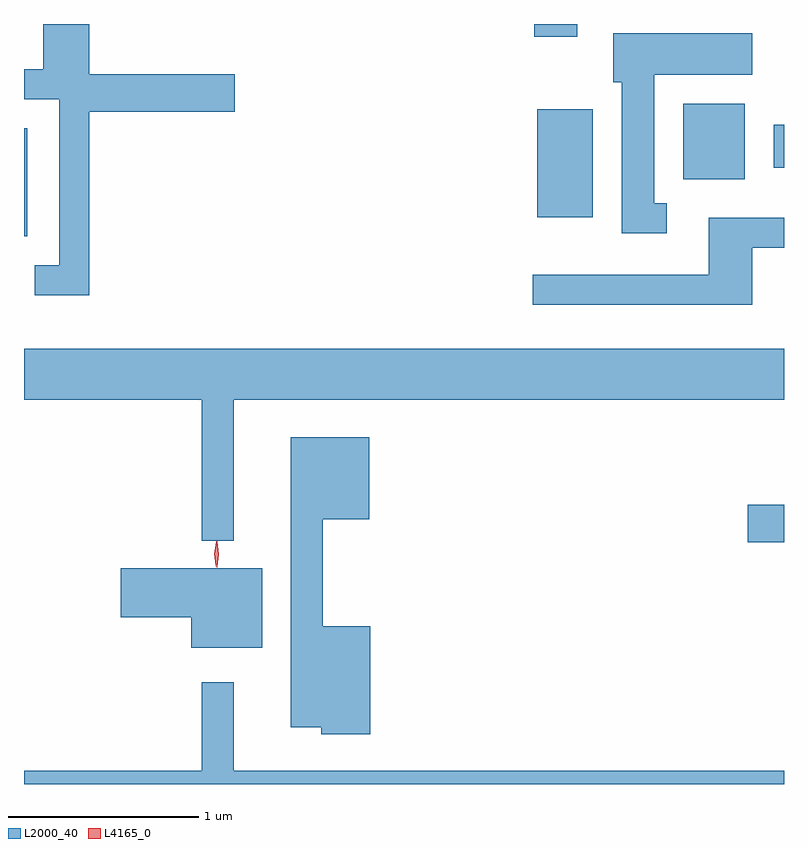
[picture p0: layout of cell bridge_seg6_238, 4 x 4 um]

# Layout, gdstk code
import gdstk
lib = gdstk.Library(unit=1e-6, precision=1e-09)
def R(c, l, rs):  # rectangles x0, y0, x1, y1
    for r in rs: c.add(gdstk.rectangle(r[:2], r[2:], *l))
def P(c, l, *ps):  # polygons
    for p in ps: c.add(gdstk.Polygon(p, *l))
L2000_40 = (2000, 40)
L4165_0 = (4165, 0)

bridge_seg6_238 = lib.new_cell('bridge_seg6_238')
R(bridge_seg6_238, L2000_40, [(1130.276,1558.166,1130.466,1558.364), (1126.466,1559.776,1126.484,1560.344), (1129.166,1559.876,1129.459,1560.444), (1129.936,1560.076,1130.259,1560.474), (1130.411,1560.136,1130.466,1560.364), (1129.151,1560.826,1129.379,1560.893)])
P(bridge_seg6_238, L2000_40, [(1126.809,1560.431),(1127.574,1560.431),(1127.574,1560.629),(1126.809,1560.629),(1126.809,1560.893),(1126.566,1560.893),(1126.566,1560.654),(1126.466,1560.654),(1126.466,1560.496),(1126.651,1560.496),(1126.651,1559.624),(1126.523,1559.624),(1126.523,1559.466),(1126.809,1559.466)],
  [(1129.848,1559.949),(1129.784,1559.949),(1129.784,1560.626),(1130.299,1560.626),(1130.299,1560.844),(1129.566,1560.844),(1129.566,1560.586),(1129.611,1560.586),(1129.611,1559.791),(1129.848,1559.791)],
  [(1130.299,1559.716),(1130.466,1559.716),(1130.466,1559.874),(1130.071,1559.874),(1130.071,1559.574),(1129.143,1559.574),(1129.143,1559.416),(1130.299,1559.416)],
  [(1127.569,1558.916),(1130.466,1558.916),(1130.466,1559.184),(1126.466,1559.184),(1126.466,1558.916),(1127.401,1558.916),(1127.401,1558.173),(1127.569,1558.173)],
  [(1128.289,1557.724),(1128.039,1557.724),(1128.039,1558.286),(1128.284,1558.286),(1128.284,1558.719),(1127.871,1558.719),(1127.871,1557.191),(1128.031,1557.191),(1128.031,1557.156),(1128.289,1557.156)],
  [(1127.719,1558.029),(1126.976,1558.029),(1126.976,1557.771),(1127.346,1557.771),(1127.346,1557.611),(1127.719,1557.611)],
  [(1130.466,1556.964),(1127.569,1556.964),(1127.569,1557.428),(1127.401,1557.428),(1127.401,1556.964),(1126.466,1556.964),(1126.466,1556.893),(1130.466,1556.893)])
P(bridge_seg6_238, L4165_0, [(1127.481,1558.034),(1127.472,1558.102),(1127.481,1558.17),(1127.482,1558.17),(1127.482,1558.17),(1127.492,1558.102),(1127.482,1558.034),(1127.482,1558.034)],
  [(1127.476,1558.04),(1127.475,1558.041),(1127.467,1558.104),(1127.477,1558.166),(1127.478,1558.167),(1127.478,1558.166),(1127.487,1558.103),(1127.476,1558.041)])

lib.write_gds('bridge_seg6_238.gds')
